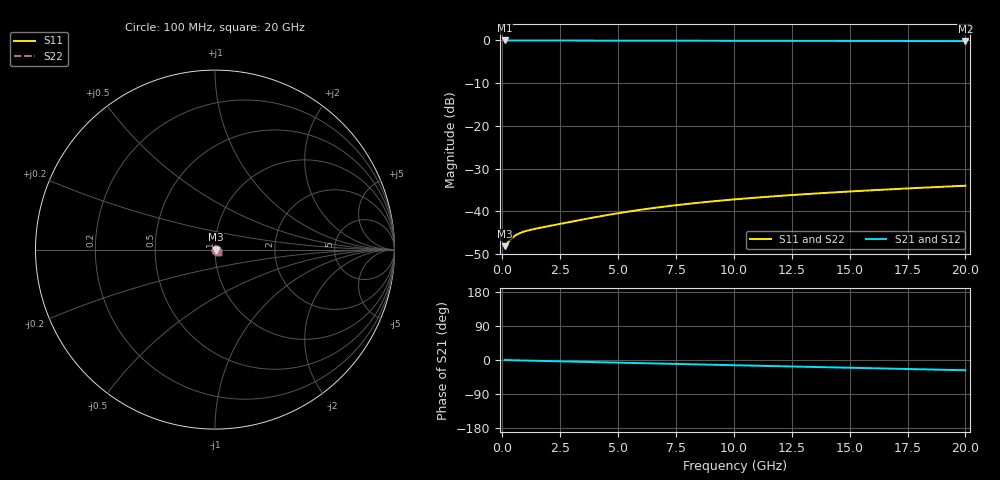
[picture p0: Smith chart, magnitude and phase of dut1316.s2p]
! Touchstone file exported from HFSS 2026.1.0
!  File:  C:/ffzhzh/LocalFiles/Ansys_Project_Files/temp_train_TMRDL_1316_1783164950_55132.aedt
!  Generated:  07:36:55 PM Jul  4, 2026
!  Design:  TMRDL
!  Project:  temp_train_TMRDL_1316_1783164950_55132
! Variables:
!  h_bsmrdl = 2um
!  h_ox = 20um
!  h_rdl = 5um
!  h_sub = 80um
!  h_tmrdl = 4.07um
!  h_tsv = 80um
!  h_via = 3um
!  l_bsmrdl = 300um
!  l_sub = 892.03um
!  l_tmrdl = 492.03um
!  m_sub = 200um
!  pitch = 14.59um
!  r_tsv = 6um
!  s_tmrdl = 10um
!  w_bsmrdl = 18um
!  w_sub = 500um
!  w_tmrdl = 11.3um
!  x_tsv_center1 = 497.68um
!  x_tsv_center2 = 815.68um
!  x_tsv_center3 = 1319.01um
!  x_tsv_center4 = 1637.01um
!  x_tsv_center5 = 2140.34um
!  x_tsv_center6 = 2458.34um
# GHz S MA R 50.000000
! Terminal data exported
! Port[1] = TM_RDL1_1_T1
! Port[2] = TM_RDL1_1_T2
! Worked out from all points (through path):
!   200 points, 100 MHz to 20 GHz, reference 50 ohm
!   highest |S21| = -0.03 dB at 100 MHz (marker M1); lowest = -0.2 dB at 20 GHz (marker M2)
!   group delay of S21, straight-line fit = 3.74 ps
!   lowest |S11| = -48.1 dB at 100 MHz (marker M3), VSWR 1.01, Z = 50.4 + j0.0475 ohm
!   |S11| at or under -10 dB: start of sweep to end of sweep
!   |S22| runs from -48.1 to -34.0 dB; largest |S21 - S12| = 2.1e-15
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0.1  0.003928 6.9  0.9961 -0.2  0.9961 -0.2  0.003928 6.9
! Gamma 0 0 0 0
! Port Impedance 50 0 50 0
0.2  0.00419 12.0  0.9959 -0.3  0.9959 -0.3  0.00419 12.0
0.3  0.004511 14.9  0.9956 -0.5  0.9956 -0.5  0.004511 14.9
0.4  0.004819 16.2  0.9954 -0.6  0.9954 -0.6  0.004819 16.2
0.5  0.005085 16.7  0.9951 -0.8  0.9951 -0.8  0.005085 16.7
0.6  0.005306 16.8  0.9949 -0.9  0.9949 -0.9  0.005306 16.8
0.7  0.005487 16.8  0.9948 -1.0  0.9948 -1.0  0.005487 16.8
0.9  0.005768 16.6  0.9945 -1.3  0.9945 -1.3  0.005768 16.6
1.1  0.005983 16.6  0.9943 -1.6  0.9943 -1.6  0.005983 16.6
1.5  0.006333 16.9  0.994 -2.2  0.994 -2.2  0.006333 16.9
3.5  0.00808 18.5  0.9926 -5.0  0.9926 -5.0  0.00808 18.5
4.4  0.00895 17.5  0.9918 -6.2  0.9918 -6.2  0.00895 17.5
5.2  0.009726 15.8  0.991 -7.3  0.991 -7.3  0.009725 15.8
6  0.01048 13.5  0.9902 -8.4  0.9902 -8.4  0.01048 13.5
6.8  0.01121 10.9  0.9894 -9.5  0.9894 -9.5  0.01121 10.9
7.6  0.01191 8.1  0.9886 -10.6  0.9886 -10.6  0.01191 8.1
8.4  0.01258 5.2  0.9879 -11.7  0.9879 -11.7  0.01258 5.2
10.1  0.01389 -1.2  0.9863 -13.9  0.9863 -13.9  0.01389 -1.2
11.7  0.01501 -7.2  0.985 -16.1  0.985 -16.1  0.01501 -7.2
13.4  0.01612 -13.5  0.9837 -18.3  0.9837 -18.3  0.01612 -13.5
16.7  0.01811 -24.9  0.9814 -22.7  0.9814 -22.7  0.01811 -24.9
20  0.01999 -35.4  0.9794 -27.1  0.9794 -27.1  0.01999 -35.4
